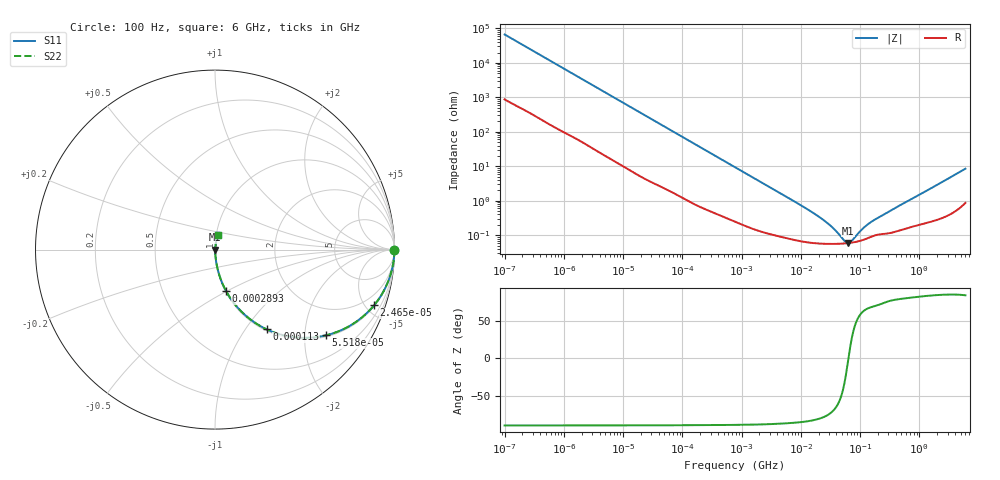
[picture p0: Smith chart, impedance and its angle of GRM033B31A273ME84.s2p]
!Murata Part Number: GRM033B31A273ME84
!These Parameters are Measured in Series Mode Connection
!Data Generated on Mar 30, 2021
!  o--ll--o
!Port1  Port2
!  o------o
!Operation Temp=25[degC], DC Bias Voltage=0[V]
!Freq. Start=100[Hz] Stop=6[GHz] 401[Steps]
# Hz S RI R 50
!Freq.(Hz) S11(Real) S11(Imag) S21(Real) S21(Imag) S12(Real) S12(Imag) S22(Real) S22(Imag)
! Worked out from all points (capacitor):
!   401 points, 100 Hz to 6 GHz, reference 50 ohm
!   read as one part in series: C = 23.8 nF near 109 Hz
!   lowest |Z| = 59.2 mohm at 62.33 MHz (marker M1)
!   series resonance near 63.69 MHz, so ESL is about 260 pH
!   S11 on the Smith chart (normalised r, x): 100 Hz: open; 24.65 kHz: 1.08, -5.69; 55.18 kHz: 1.04, -2.56; 113 kHz: 1.02, -1.26; 289.3 kHz: 1.01, -0.50; 6 GHz: 1.02, +0.17
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100  1 -0.0015  2.18e-05 0.0015  2.18e-05 0.0015  1 -0.0015
2008  0.9987 -0.0292  0.00129 0.0292  0.00129 0.0292  0.9987 -0.0292
8416  0.9839 -0.1188  0.0161 0.1188  0.0161 0.1188  0.9839 -0.1188
24648  0.8867 -0.3098  0.1133 0.3098  0.1133 0.3098  0.8867 -0.3098
40335  0.7499 -0.4254  0.2501 0.4254  0.2501 0.4254  0.7499 -0.4254
55182  0.6196 -0.4774  0.3804 0.4774  0.3804 0.4774  0.6196 -0.4774
78952  0.4479 -0.4889  0.5521 0.4889  0.5521 0.4889  0.4479 -0.4889
112960  0.2879 -0.4443  0.7121 0.4443  0.7121 0.4443  0.2879 -0.4443
176758  0.1452 -0.3435  0.8548 0.3435  0.8548 0.3435  0.1452 -0.3435
289253  0.0623 -0.2319  0.9377 0.2319  0.9377 0.2319  0.0623 -0.2319
774597  0.0112 -0.0927  0.9888 0.0927  0.9888 0.0927  0.0112 -0.0927
2481164  0.00206 -0.0297  0.9979 0.0297  0.9979 0.0297  0.00206 -0.0297
1.555665e7  0.000618 -0.0046  0.9994 0.0046  0.9994 0.0046  0.000618 -0.0046
3.045065e7  0.000563 -0.00193  0.9994 0.00193  0.9994 0.00193  0.000563 -0.00193
5.449875e7  0.000577 -0.000374  0.9994 0.000374  0.9994 0.000374  0.000577 -0.000374
6.233367e7  0.000589 -5.07e-05  0.9994 5.07e-05  0.9994 5.07e-05  0.000589 -5.07e-05
7.129496e7  0.000607 0.00027  0.9994 -0.00027  0.9994 -0.00027  0.000607 0.00027
1.066761e8  0.000709 0.00127  0.9993 -0.00127  0.9993 -0.00127  0.000709 0.00127
1.395531e8  0.000842 0.00199  0.9992 -0.00199  0.9992 -0.00199  0.000842 0.00199
3.124326e8  0.00117 0.00479  0.9988 -0.00479  0.9988 -0.00479  0.00117 0.00479
1.873145e9  0.00341 0.0269  0.9966 -0.0269  0.9966 -0.0269  0.00341 0.0269
6e9  0.0155 0.0827  0.9845 -0.0827  0.9845 -0.0827  0.0155 0.0827
